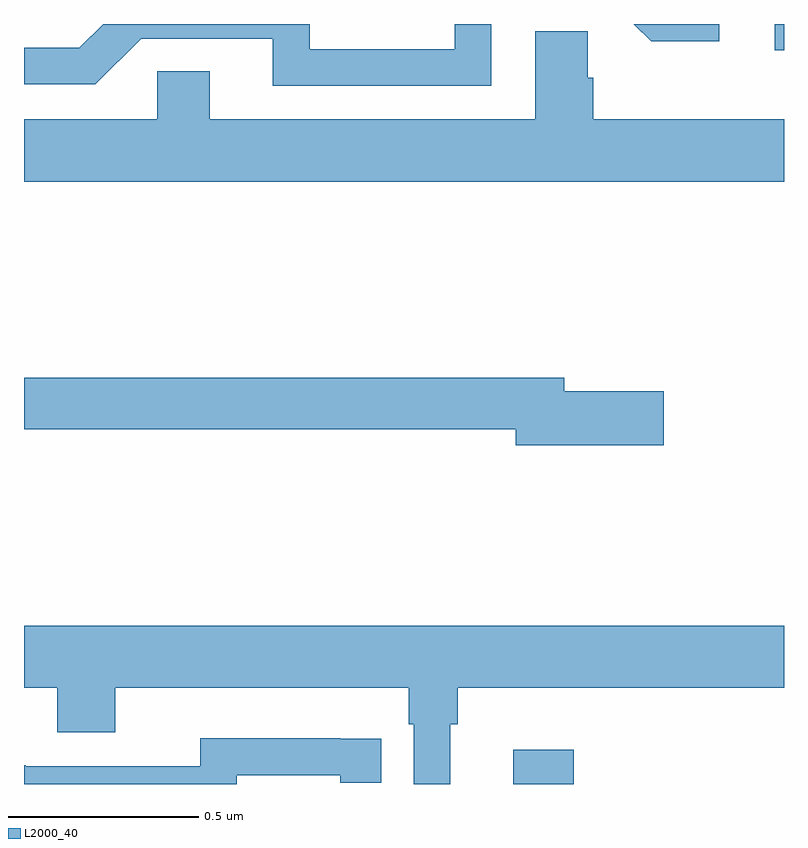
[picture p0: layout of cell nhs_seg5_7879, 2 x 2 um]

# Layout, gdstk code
import gdstk
lib = gdstk.Library(unit=1e-6, precision=1e-09)
def R(c, l, rs):  # rectangles x0, y0, x1, y1
    for r in rs: c.add(gdstk.rectangle(r[:2], r[2:], *l))
def P(c, l, *ps):  # polygons
    for p in ps: c.add(gdstk.Polygon(p, *l))
L2000_40 = (2000, 40)

nhs_seg5_7879 = lib.new_cell('nhs_seg5_7879')
R(nhs_seg5_7879, L2000_40, [(215.288,897.799,215.447,897.889), (215.975,899.73,216,899.799)])
P(nhs_seg5_7879, L2000_40, [(215.229,899.799),(215.133,899.799),(215.133,899.733),(214.752,899.733),(214.752,899.799),(214.209,899.799),(214.146,899.736),(214,899.736),(214,899.64),(214.188,899.64),(214.308,899.76),(214.655,899.76),(214.655,899.637),(215.229,899.637)],
  [(215.83,899.799),(215.605,899.799),(215.651,899.753),(215.83,899.753)],
  [(216,899.548),(215.498,899.548),(215.498,899.657),(215.484,899.657),(215.484,899.78),(215.345,899.78),(215.345,899.548),(214.489,899.548),(214.489,899.675),(214.35,899.675),(214.35,899.548),(214,899.548),(214,899.384),(216,899.384)],
  [(215.683,898.832),(215.422,898.832),(215.422,898.868),(214,898.868),(214,898.732),(215.294,898.732),(215.294,898.69),(215.683,898.69)],
  [(215.122,897.956),(215.141,897.956),(215.141,898.052),(216,898.052),(216,898.216),(214,898.216),(214,898.052),(214.088,898.052),(214.088,897.935),(214.24,897.935),(214.24,898.052),(215.012,898.052),(215.012,897.956),(215.025,897.956),(215.025,897.799),(215.122,897.799)],
  [(214.56,897.822),(214.832,897.822),(214.832,897.802),(214.94,897.802),(214.94,897.918),(214.832,897.918),(214.832,897.919),(214.464,897.919),(214.464,897.846),(214.004,897.846),(214.004,897.848),(214,897.848),(214,897.799),(214.56,897.799)])

lib.write_gds('nhs_seg5_7879.gds')
